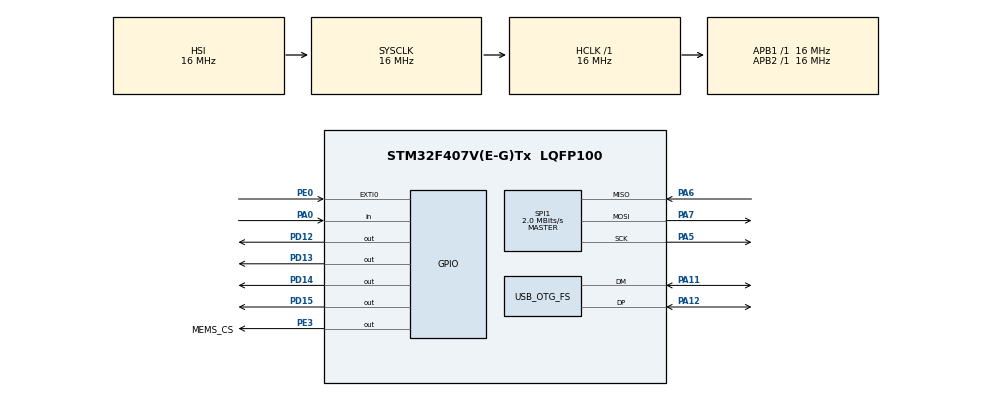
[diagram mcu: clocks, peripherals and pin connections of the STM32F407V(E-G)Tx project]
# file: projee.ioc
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EdgeImpulse.final.1.0.1.MachineLearningCcfinalJjCore=true
Mcu.Family=STM32F4
Mcu.Name=STM32F407V(E-G)Tx
Mcu.Package=LQFP100
NVIC.EXTI0_IRQn=true\:0\:0\:false\:false\:true\:true\:true\:true
NVIC.OTG_FS_IRQn=true\:0\:0\:false\:false\:true\:false\:true\:true
NVIC.PriorityGroup=NVIC_PRIORITYGROUP_4
PA0-WKUP.Signal=GPIO_Input
PA11.Mode=Device_Only
PA11.Signal=USB_OTG_FS_DM
PA12.Mode=Device_Only
PA12.Signal=USB_OTG_FS_DP
PA13.Mode=Trace_Asynchronous_SW
PA13.Signal=SYS_JTMS-SWDIO
PA14.Mode=Trace_Asynchronous_SW
PA14.Signal=SYS_JTCK-SWCLK
PA5.Mode=Full_Duplex_Master
PA5.Signal=SPI1_SCK
PA6.Mode=Full_Duplex_Master
PA6.Signal=SPI1_MISO
PA7.Mode=Full_Duplex_Master
PA7.Signal=SPI1_MOSI
PB3.Mode=Trace_Asynchronous_SW
PB3.Signal=SYS_JTDO-SWO
PD12.Signal=GPIO_Output
PD13.Signal=GPIO_Output
PD14.Signal=GPIO_Output
PD15.Signal=GPIO_Output
PE0.Signal=GPXTI0
PE3.GPIO_Label=MEMS_CS
PE3.Signal=GPIO_Output
PH0-OSC_IN.Mode=HSE-External-Oscillator
PH0-OSC_IN.Signal=RCC_OSC_IN
PH1-OSC_OUT.Mode=HSE-External-Oscillator
PH1-OSC_OUT.Signal=RCC_OSC_OUT
ProjectManager.HeapSize=0x200
ProjectManager.StackSize=0x400
ProjectManager.TargetToolchain=STM32CubeIDE
RCC.48MHZClocksFreq_Value=48000000
RCC.AHBFreq_Value=16000000
RCC.APB1Freq_Value=16000000
RCC.APB1TimFreq_Value=16000000
RCC.APB2Freq_Value=16000000
RCC.APB2TimFreq_Value=16000000
RCC.CortexFreq_Value=16000000
RCC.HCLKFreq_Value=16000000
RCC.HSE_VALUE=8000000
RCC.HSI_VALUE=16000000
RCC.LSE_VALUE=32768
RCC.PLLM=4
RCC.PLLN=72
RCC.PLLQ=3
RCC.SYSCLKFreq_VALUE=16000000
RCC.VCOOutputFreq_Value=144000000
SPI1.BaudRatePrescaler=SPI_BAUDRATEPRESCALER_8
SPI1.CalculateBaudRate=2.0 MBits/s
SPI1.Direction=SPI_DIRECTION_2LINES
SPI1.Mode=SPI_MODE_MASTER
SPI1.VirtualType=VM_MASTER
USB_DEVICE.CLASS_NAME_FS=CDC
USB_DEVICE.VirtualMode-CDC_FS=Cdc
USB_DEVICE.VirtualModeFS=Cdc_FS
USB_OTG_FS.VirtualMode=Device_Only
VP_CRC_VS_CRC.Mode=CRC_Activate
VP_EdgeImpulse.final_VS_finalJjMachineLearning_1.0.1_1.0.1.Mode=finalJjMachineLearning
VP_USB_DEVICE_VS_USB_DEVICE_CDC_FS.Mode=CDC_FS
board=custom

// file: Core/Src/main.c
/* USER CODE BEGIN Header */
/**
  ******************************************************************************
  * @file           : main.c
  * @brief          : Main program body
  ******************************************************************************
  * @attention
  *
  * Copyright (c) 2022 STMicroelectronics.
  * All rights reserved.
  *
  * This software is licensed under terms that can be found in the LICENSE file
  * in the root directory of this software component.
  * If no LICENSE file comes with this software, it is provided AS-IS.
  *
  ******************************************************************************
  */
/* USER CODE END Header */
#include "main.h"
#include "usb_device.h"

/* USER CODE BEGIN Includes */
#include "MY_LIS3DSH.h"
#include "usbd_cdc_if.h"
#include "string.h"
/* USER CODE END Includes */

CRC_HandleTypeDef hcrc;

SPI_HandleTypeDef hspi1;

/* USER CODE BEGIN PV */
/* Private variables ---------------------------------------------------------*/

/* USER CODE END PV */

void SystemClock_Config(void);
static void MX_GPIO_Init(void);
static void MX_SPI1_Init(void);
static void MX_CRC_Init(void);
/* USER CODE BEGIN PFP */
/* Private function prototypes -----------------------------------------------*/

/* USER CODE END PFP */

/* USER CODE BEGIN 0 */
LIS3DSH_DataScaled myData;
char A[50];
int i=0;
uint8_t drdyFlag=0;
char charbuff[50];
int pressed=0;
/* USER CODE END 0 */

int main(void)
{
  /* USER CODE BEGIN 1 */
	LIS3DSH_InitTypeDef myAccConfigDef;
  /* USER CODE END 1 */

  /* MCU Configuration--------------------------------------------------------*/

  /* Reset of all peripherals, Initializes the Flash interface and the Systick. */
  HAL_Init();

  /* Configure the system clock */
  SystemClock_Config();

  /* Initialize all configured peripherals */
  MX_GPIO_Init();
  MX_SPI1_Init();
  MX_USB_DEVICE_Init();
  MX_CRC_Init();
  /* USER CODE BEGIN 2 */
	myAccConfigDef.dataRate = LIS3DSH_DATARATE_800;
	myAccConfigDef.fullScale = LIS3DSH_FULLSCALE_4;
	myAccConfigDef.enableAxes = LIS3DSH_XYZ_ENABLE;
	myAccConfigDef.interruptEnable = true;
	//myAccConfigDef.antiAliasingBW = LIS3DSH_FILTER_BW_50;
	LIS3DSH_Init(&hspi1, &myAccConfigDef);

	LIS3DSH_X_calibrate(-1000.0, 980.0);
	LIS3DSH_Y_calibrate(-1020.0, 1040.0);
	LIS3DSH_Z_calibrate(-920.0, 1040.0);

  /* USER CODE END 2 */

  /* Infinite loop */
  while (1)
  {

    /* USER CODE BEGIN 3 */
		if(drdyFlag == 1)
		{

			drdyFlag = 0;
			myData = LIS3DSH_GetDataScaled();
			//snprintf(charbuff,sizeof(charbuff),"%d,",i*(1000/50));
			//strcat(A,charbuff);
			snprintf(charbuff,sizeof(charbuff),"%f,",myData.x);
			strcat(A,charbuff);
			snprintf(charbuff,sizeof(charbuff),"%f,",myData.y);
			strcat(A,charbuff);
			snprintf(charbuff,sizeof(charbuff),"%f\n",myData.z);
			strcat(A,charbuff);
			//strcat(A,"\n");
			//i++;
			CDC_Transmit_FS(A, strlen(A));
			memset(A, '\0', strlen(A));
			HAL_GPIO_TogglePin(GPIOD, GPIO_PIN_12);
		}

  }
  /* USER CODE END 3 */
}

void SystemClock_Config(void)
{
  RCC_OscInitTypeDef RCC_OscInitStruct = {0};
  RCC_ClkInitTypeDef RCC_ClkInitStruct = {0};

  /** Configure the main internal regulator output voltage
  */
  __HAL_RCC_PWR_CLK_ENABLE();
  __HAL_PWR_VOLTAGESCALING_CONFIG(PWR_REGULATOR_VOLTAGE_SCALE1);

  /** Initializes the RCC Oscillators according to the specified parameters
  * in the RCC_OscInitTypeDef structure.
  */
  RCC_OscInitStruct.OscillatorType = RCC_OSCILLATORTYPE_HSI|RCC_OSCILLATORTYPE_HSE;
  RCC_OscInitStruct.HSEState = RCC_HSE_ON;
  RCC_OscInitStruct.HSIState = RCC_HSI_ON;
  RCC_OscInitStruct.HSICalibrationValue = RCC_HSICALIBRATION_DEFAULT;
  RCC_OscInitStruct.PLL.PLLState = RCC_PLL_ON;
  RCC_OscInitStruct.PLL.PLLSource = RCC_PLLSOURCE_HSE;
  RCC_OscInitStruct.PLL.PLLM = 4;
  RCC_OscInitStruct.PLL.PLLN = 72;
  RCC_OscInitStruct.PLL.PLLP = RCC_PLLP_DIV2;
  RCC_OscInitStruct.PLL.PLLQ = 3;
  if (HAL_RCC_OscConfig(&RCC_OscInitStruct) != HAL_OK)
  {
    Error_Handler();
  }

  /** Initializes the CPU, AHB and APB buses clocks
  */
  RCC_ClkInitStruct.ClockType = RCC_CLOCKTYPE_HCLK|RCC_CLOCKTYPE_SYSCLK
                              |RCC_CLOCKTYPE_PCLK1|RCC_CLOCKTYPE_PCLK2;
  RCC_ClkInitStruct.SYSCLKSource = RCC_SYSCLKSOURCE_HSI;
  RCC_ClkInitStruct.AHBCLKDivider = RCC_SYSCLK_DIV1;
  RCC_ClkInitStruct.APB1CLKDivider = RCC_HCLK_DIV1;
  RCC_ClkInitStruct.APB2CLKDivider = RCC_HCLK_DIV1;

  if (HAL_RCC_ClockConfig(&RCC_ClkInitStruct, FLASH_LATENCY_0) != HAL_OK)
  {
    Error_Handler();
  }
}

static void MX_CRC_Init(void)
{

  hcrc.Instance = CRC;
  if (HAL_CRC_Init(&hcrc) != HAL_OK)
  {
    Error_Handler();
  }

}

static void MX_SPI1_Init(void)
{

  /* SPI1 parameter configuration*/
  hspi1.Instance = SPI1;
  hspi1.Init.Mode = SPI_MODE_MASTER;
  hspi1.Init.Direction = SPI_DIRECTION_2LINES;
  hspi1.Init.DataSize = SPI_DATASIZE_8BIT;
  hspi1.Init.CLKPolarity = SPI_POLARITY_LOW;
  hspi1.Init.CLKPhase = SPI_PHASE_1EDGE;
  hspi1.Init.NSS = SPI_NSS_SOFT;
  hspi1.Init.BaudRatePrescaler = SPI_BAUDRATEPRESCALER_8;
  hspi1.Init.FirstBit = SPI_FIRSTBIT_MSB;
  hspi1.Init.TIMode = SPI_TIMODE_DISABLE;
  hspi1.Init.CRCCalculation = SPI_CRCCALCULATION_DISABLE;
  hspi1.Init.CRCPolynomial = 10;
  if (HAL_SPI_Init(&hspi1) != HAL_OK)
  {
    Error_Handler();
  }

}

static void MX_GPIO_Init(void)
{
  GPIO_InitTypeDef GPIO_InitStruct = {0};

  /* GPIO Ports Clock Enable */
  __HAL_RCC_GPIOE_CLK_ENABLE();
  __HAL_RCC_GPIOH_CLK_ENABLE();
  __HAL_RCC_GPIOA_CLK_ENABLE();
  __HAL_RCC_GPIOD_CLK_ENABLE();
  __HAL_RCC_GPIOB_CLK_ENABLE();

  /*Configure GPIO pin Output Level */
  HAL_GPIO_WritePin(MEMS_CS_GPIO_Port, MEMS_CS_Pin, GPIO_PIN_RESET);

  /*Configure GPIO pin Output Level */
  HAL_GPIO_WritePin(GPIOD, GPIO_PIN_12|GPIO_PIN_13|GPIO_PIN_14|GPIO_PIN_15, GPIO_PIN_RESET);

  /*Configure GPIO pin : MEMS_CS_Pin */
  GPIO_InitStruct.Pin = MEMS_CS_Pin;
  GPIO_InitStruct.Mode = GPIO_MODE_OUTPUT_PP;
  GPIO_InitStruct.Pull = GPIO_NOPULL;
  GPIO_InitStruct.Speed = GPIO_SPEED_FREQ_LOW;
  HAL_GPIO_Init(MEMS_CS_GPIO_Port, &GPIO_InitStruct);

  /*Configure GPIO pin : PA0 */
  GPIO_InitStruct.Pin = GPIO_PIN_0;
  GPIO_InitStruct.Mode = GPIO_MODE_INPUT;
  GPIO_InitStruct.Pull = GPIO_NOPULL;
  HAL_GPIO_Init(GPIOA, &GPIO_InitStruct);

  /*Configure GPIO pins : PD12 PD13 PD14 PD15 */
  GPIO_InitStruct.Pin = GPIO_PIN_12|GPIO_PIN_13|GPIO_PIN_14|GPIO_PIN_15;
  GPIO_InitStruct.Mode = GPIO_MODE_OUTPUT_PP;
  GPIO_InitStruct.Pull = GPIO_NOPULL;
  GPIO_InitStruct.Speed = GPIO_SPEED_FREQ_LOW;
  HAL_GPIO_Init(GPIOD, &GPIO_InitStruct);

  /*Configure GPIO pin : PE0 */
  GPIO_InitStruct.Pin = GPIO_PIN_0;
  GPIO_InitStruct.Mode = GPIO_MODE_IT_RISING;
  GPIO_InitStruct.Pull = GPIO_NOPULL;
  HAL_GPIO_Init(GPIOE, &GPIO_InitStruct);

  /* EXTI interrupt init*/
  HAL_NVIC_SetPriority(EXTI0_IRQn, 0, 0);
  HAL_NVIC_EnableIRQ(EXTI0_IRQn);

}

/* USER CODE BEGIN 4 */
void HAL_GPIO_EXTI_Callback(uint16_t GPIO_Pin)
{
  /* Prevent unused argument(s) compilation warning */
  UNUSED(GPIO_Pin);
  /* NOTE: This function Should not be modified, when the callback is needed,
           the HAL_GPIO_EXTI_Callback could be implemented in the user file
   */
 /* if(GPIO_Pin==GPIO_PIN_0){
  	  if(HAL_GPIO_ReadPin( GPIOA,GPIO_PIN_0)){*/
	drdyFlag = 1;
	pressed=1;
	HAL_GPIO_TogglePin(GPIOD, GPIO_PIN_13);
  	  /*}
  	  else{
  		  if(pressed==1){
  		  i=0;
  		  pressed=0;
  		CDC_Transmit_FS("\n", strlen("\n"));
  		  }
  	  }
  }*/

}
/* USER CODE END 4 */

void Error_Handler(void)
{
  while(1)
  {
  }
}
